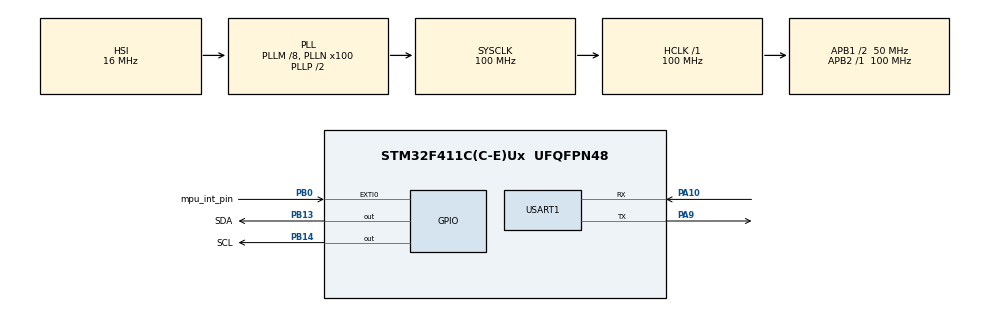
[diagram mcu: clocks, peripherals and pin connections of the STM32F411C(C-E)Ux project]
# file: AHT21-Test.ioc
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FREERTOS.Tasks01=HandlerTask,24,128,temp_humi_handler_thread,As weak,(void*)&input_args,Dynamic,NULL,NULL;userTask,16,128,userTaskFunction,Default,NULL,Dynamic,NULL,NULL;mpu_user,25,128,bsp_mpuxxxx_handler_thread,As weak,(void *)&mpu_input_args,Dynamic,NULL,NULL
Mcu.Family=STM32F4
Mcu.Name=STM32F411C(C-E)Ux
Mcu.Package=UFQFPN48
NVIC.EXTI0_IRQn=true\:5\:0\:false\:false\:true\:true\:true\:true\:true
NVIC.PriorityGroup=NVIC_PRIORITYGROUP_4
NVIC.TIM1_UP_TIM10_IRQn=true\:15\:0\:false\:false\:true\:false\:false\:true\:true
NVIC.TimeBase=TIM1_UP_TIM10_IRQn
NVIC.TimeBaseIP=TIM1
PA10.Mode=Asynchronous
PA10.Signal=USART1_RX
PA13.Mode=Serial_Wire
PA13.Signal=SYS_JTMS-SWDIO
PA14.Mode=Serial_Wire
PA14.Signal=SYS_JTCK-SWCLK
PA9.Mode=Asynchronous
PA9.Signal=USART1_TX
PB0.GPIO_Label=mpu_int_pin
PB0.GPIO_ModeDefaultEXTI=GPIO_MODE_IT_FALLING
PB0.GPIO_PuPd=GPIO_PULLUP
PB0.Signal=GPXTI0
PB13.GPIO_Label=SDA
PB13.GPIO_ModeDefaultOutputPP=GPIO_MODE_OUTPUT_OD
PB13.GPIO_PuPd=GPIO_NOPULL
PB13.PinState=GPIO_PIN_SET
PB13.Signal=GPIO_Output
PB14.GPIO_Label=SCL
PB14.GPIO_ModeDefaultOutputPP=GPIO_MODE_OUTPUT_OD
PB14.GPIO_PuPd=GPIO_NOPULL
PB14.PinState=GPIO_PIN_SET
PB14.Signal=GPIO_Output
PC14-OSC32_IN.Mode=LSE-External-Oscillator
PC14-OSC32_IN.Signal=RCC_OSC32_IN
PC15-OSC32_OUT.Mode=LSE-External-Oscillator
PC15-OSC32_OUT.Signal=RCC_OSC32_OUT
PH0\ -\ OSC_IN.Mode=HSE-External-Oscillator
PH0\ -\ OSC_IN.Signal=RCC_OSC_IN
PH1\ -\ OSC_OUT.Mode=HSE-External-Oscillator
PH1\ -\ OSC_OUT.Signal=RCC_OSC_OUT
ProjectManager.HeapSize=0x200
ProjectManager.StackSize=0x400
ProjectManager.TargetToolchain=MDK-ARM V5
RCC.48MHZClocksFreq_Value=50000000
RCC.AHBFreq_Value=100000000
RCC.APB1CLKDivider=RCC_HCLK_DIV2
RCC.APB1Freq_Value=50000000
RCC.APB1TimFreq_Value=100000000
RCC.APB2Freq_Value=100000000
RCC.APB2TimFreq_Value=100000000
RCC.CortexFreq_Value=100000000
RCC.HCLKFreq_Value=100000000
RCC.HSE_VALUE=25000000
RCC.HSI_VALUE=16000000
RCC.PLLM=8
RCC.PLLN=100
RCC.SYSCLKFreq_VALUE=100000000
RCC.SYSCLKSource=RCC_SYSCLKSOURCE_PLLCLK
RCC.VCOOutputFreq_Value=200000000
USART1.VirtualMode=VM_ASYNC
VP_FREERTOS_VS_CMSIS_V2.Mode=CMSIS_V2
VP_SYS_VS_tim1.Mode=TIM1
board=custom

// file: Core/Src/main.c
/* USER CODE BEGIN Header */
/**
  ******************************************************************************
  * @file           : main.c
  * @brief          : Main program body
  ******************************************************************************
  * @attention
  *
  * Copyright (c) 2025 STMicroelectronics.
  * All rights reserved.
  *
  * This software is licensed under terms that can be found in the LICENSE file
  * in the root directory of this software component.
  * If no LICENSE file comes with this software, it is provided AS-IS.
  *
  ******************************************************************************
  */
/* USER CODE END Header */
#include "main.h"
#include "cmsis_os.h"
#include "usart.h"
#include "gpio.h"

/* USER CODE BEGIN Includes */
#include "core_cm4.h"
#include "iic_hal.h"
/* USER CODE END Includes */

void SystemClock_Config(void);
void MX_FREERTOS_Init(void);
/* USER CODE BEGIN PFP */
void app_elog_init(void);
void dwt_delay_init(void)
{
    CoreDebug->DEMCR |= CoreDebug_DEMCR_TRCENA_Msk;      // 使能 DWT 模块
    DWT->CYCCNT = 0;                                     // 清零计数�???
    DWT->CTRL |= DWT_CTRL_CYCCNTENA_Msk;                 // 使能 cycle counter
}
void delay_us(uint32_t us)
{
    uint32_t start = DWT->CYCCNT;
    uint32_t ticks = us * (SystemCoreClock / 1000000);

    while ((DWT->CYCCNT - start) < ticks);
}

void delay_ms(uint32_t ms)
{
    while (ms--)
    {
        delay_us(1000);
    }
}
/* USER CODE END PFP */

/* USER CODE BEGIN 0 */
void app_elog_init(void)
{
  elog_init();

  elog_set_text_color_enabled(true);
  elog_set_fmt(ELOG_LVL_ASSERT, ELOG_FMT_ALL);
  elog_set_fmt(ELOG_LVL_ERROR, ELOG_FMT_ALL);
  elog_set_fmt(ELOG_LVL_WARN, ELOG_FMT_ALL);
  elog_set_fmt(ELOG_LVL_INFO, ELOG_FMT_ALL);
  elog_set_fmt(ELOG_LVL_DEBUG, ELOG_FMT_ALL);
  elog_set_fmt(ELOG_LVL_VERBOSE, ELOG_FMT_ALL);
  elog_start();
}
/* USER CODE END 0 */

int main(void)
{

  /* MCU Configuration--------------------------------------------------------*/

  /* Reset of all peripherals, Initializes the Flash interface and the Systick. */
  HAL_Init();

  /* Configure the system clock */
  SystemClock_Config();

  /* USER CODE BEGIN SysInit */
  dwt_delay_init();
  /* USER CODE END SysInit */

  /* Initialize all configured peripherals */
  MX_GPIO_Init();
  MX_USART1_UART_Init();
  /* USER CODE BEGIN 2 */
	app_elog_init();
  /* USER CODE END 2 */

  /* Init scheduler */
  osKernelInitialize();  /* Call init function for freertos objects (in freertos.c) */
  MX_FREERTOS_Init();

  /* Start scheduler */
  osKernelStart();
  /* We should never get here as control is now taken by the scheduler */
  /* Infinite loop */
  while (1)
  {

  }
}

void SystemClock_Config(void)
{
  RCC_OscInitTypeDef RCC_OscInitStruct = {0};
  RCC_ClkInitTypeDef RCC_ClkInitStruct = {0};

  /** Configure the main internal regulator output voltage
  */
  __HAL_RCC_PWR_CLK_ENABLE();
  __HAL_PWR_VOLTAGESCALING_CONFIG(PWR_REGULATOR_VOLTAGE_SCALE1);

  /** Initializes the RCC Oscillators according to the specified parameters
  * in the RCC_OscInitTypeDef structure.
  */
  RCC_OscInitStruct.OscillatorType = RCC_OSCILLATORTYPE_HSI;
  RCC_OscInitStruct.HSIState = RCC_HSI_ON;
  RCC_OscInitStruct.HSICalibrationValue = RCC_HSICALIBRATION_DEFAULT;
  RCC_OscInitStruct.PLL.PLLState = RCC_PLL_ON;
  RCC_OscInitStruct.PLL.PLLSource = RCC_PLLSOURCE_HSI;
  RCC_OscInitStruct.PLL.PLLM = 8;
  RCC_OscInitStruct.PLL.PLLN = 100;
  RCC_OscInitStruct.PLL.PLLP = RCC_PLLP_DIV2;
  RCC_OscInitStruct.PLL.PLLQ = 4;
  if (HAL_RCC_OscConfig(&RCC_OscInitStruct) != HAL_OK)
  {
    Error_Handler();
  }

  /** Initializes the CPU, AHB and APB buses clocks
  */
  RCC_ClkInitStruct.ClockType = RCC_CLOCKTYPE_HCLK|RCC_CLOCKTYPE_SYSCLK
                              |RCC_CLOCKTYPE_PCLK1|RCC_CLOCKTYPE_PCLK2;
  RCC_ClkInitStruct.SYSCLKSource = RCC_SYSCLKSOURCE_PLLCLK;
  RCC_ClkInitStruct.AHBCLKDivider = RCC_SYSCLK_DIV1;
  RCC_ClkInitStruct.APB1CLKDivider = RCC_HCLK_DIV2;
  RCC_ClkInitStruct.APB2CLKDivider = RCC_HCLK_DIV1;

  if (HAL_RCC_ClockConfig(&RCC_ClkInitStruct, FLASH_LATENCY_3) != HAL_OK)
  {
    Error_Handler();
  }
}

/* USER CODE BEGIN 4 */
#if 0
void IIC_test1(void)
{
	unsigned char ACKflag = 0xFF;

	IICInit(&AHT_bus);
  IICStart(&AHT_bus);
  IICSendByte(&AHT_bus, 0x38<<1);
  ACKflag = IICWaitAck(&AHT_bus);
  IICStop(&AHT_bus);

  if(ACKflag == 0) {
    printf("AHT20 ACK\r\n");
  } else {
    printf("AHT20 NACK\r\n");
  }
}

void aht21_driver_test(void)
{
  iic_driver_interface_t iic_interface;
  iic_interface.pf_iic_init         = IICInit;
  iic_interface.pf_iic_deinit       = NULL;
  iic_interface.pf_iic_start        = IICStart;
  iic_interface.pf_iic_stop         = IICStop;
  iic_interface.pf_iic_send_byte    = IICSendByte;
  iic_interface.pf_iic_receive_byte = IICReceiveByte;
  iic_interface.pf_iic_wait_ack     = IICWaitAck;
  iic_interface.pf_iic_send_ack     = IICSendAck;
  iic_interface.pf_iic_send_nack    = IICSendNotAck;
  iic_interface.pf_delay_ms         = delay_ms;

  timebase_interface_t timebase_interface;
  timebase_interface.pf_get_tick_count = HAL_GetTick;

  bsp_aht21_driver_t AHT21;
  float temperature = 0.0f;
  float humidity = 0.0f;

  AHT21_status_t ret;
  ret = aht21_inst(&AHT21,
                   &iic_interface,
									 NULL,
                   &timebase_interface);

  if(AHT21_OK != ret)
  {
      printf("AHT21 init failed\r\n");
  }
  else
  {
      printf("AHT21 init success\r\n");
  }

  AHT21_status_t status;
  status = AHT21.pf_read_temp_humi(&AHT21, &temperature, &humidity);
  if(AHT21_OK != status)
  {
      printf("AHT21 read temp humi failed\r\n");
  }
  else
  {
      printf("AHT21 read temp humi success\r\n");
      printf("Temperature: %.2f C, Humidity: %.2f %%\r\n", temperature, humidity);
  }
}
#endif
/* USER CODE END 4 */

void HAL_TIM_PeriodElapsedCallback(TIM_HandleTypeDef *htim)
{
  if (htim->Instance == TIM1) {
    HAL_IncTick();
  }
}

void Error_Handler(void)
{
  __disable_irq();
  while (1)
  {
  }
}

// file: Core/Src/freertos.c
/* USER CODE BEGIN Header */
/**
  ******************************************************************************
  * File Name          : freertos.c
  * Description        : Code for freertos applications
  ******************************************************************************
  * @attention
  *
  * Copyright (c) 2025 STMicroelectronics.
  * All rights reserved.
  *
  * This software is licensed under terms that can be found in the LICENSE file
  * in the root directory of this software component.
  * If no LICENSE file comes with this software, it is provided AS-IS.
  *
  ******************************************************************************
  */
/* USER CODE END Header */

#include "FreeRTOS.h"
#include "task.h"
#include "main.h"
#include "cmsis_os.h"

/* USER CODE BEGIN Includes */
#include "AHT21_adapter.h"
#include "MPU6050_adapter.h"
#include "ec_bsp_temp_humi_handler.h"
#include "elog.h"
/* USER CODE END Includes */

/* USER CODE BEGIN Variables */
extern temp_humi_handler_all_input_arg_t input_args;
/* USER CODE END Variables */
/* Definitions for HandlerTask */
osThreadId_t HandlerTaskHandle;
const osThreadAttr_t HandlerTask_attributes = {
  .name = "HandlerTask",
  .stack_size = 128 * 6,
  .priority = (osPriority_t) osPriorityNormal,
};
/* Definitions for userTask */
osThreadId_t userTaskHandle;
const osThreadAttr_t userTask_attributes = {
  .name = "userTask",
  .stack_size = 128 * 6,
  .priority = (osPriority_t) osPriorityBelowNormal,
};

void temp_humi_handler_thread(void *argument);
void userTaskFunction(void *argument);
void bsp_mpuxxxx_handler_thread(void *argument);

void MX_FREERTOS_Init(void); /* (MISRA C 2004 rule 8.1) */

void MX_FREERTOS_Init(void) {

  /* Create the thread(s) */
  /* creation of HandlerTask */
  HandlerTaskHandle = osThreadNew(temp_humi_handler_thread, (void*)&input_args, &HandlerTask_attributes);

  /* creation of userTask */
  userTaskHandle = osThreadNew(userTaskFunction, NULL, &userTask_attributes);

}

__weak void temp_humi_handler_thread(void *argument)
{
  for(;;)
  {
    osDelay(1);
  }
}

void userTaskFunction(void *argument)
{
  /* USER CODE BEGIN userTaskFunction */
	log_d("userTaskFunction start");
	MPU6050_adapter_init();
  temp_humi_event_t user_event =
  {
    .humidity = 0,
    .temperature = 0,
    .type = TEMP_HUMI_EVENT_TEMP_HUMI,
    .pf_callback = temp_humi_callback,
    .timestamp = 0,
    .lifetime = 100
  };
  /* Infinite loop */
  for(;;)
  {
    bsp_temp_humi_xxx_read(&user_event);
    osDelay(200);
  }
  /* USER CODE END userTaskFunction */
}
